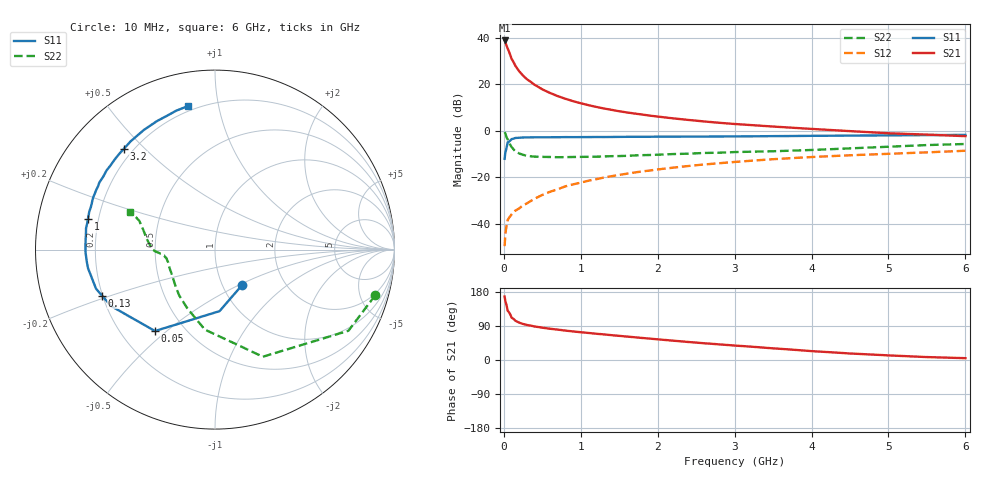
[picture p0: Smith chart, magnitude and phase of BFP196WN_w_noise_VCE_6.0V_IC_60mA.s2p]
! (c) 2017  Infineon Technologies AG, Munich
! Infineon Technologies  Discrete & RF Semiconductors
! BFP196WN
! VCE =  6.0 V,  IC =  60 mA
! Common Emitter S-Parameters:  Jan 2017
# GHz  S  MA  R  50
!  f  S11  S21  S12  S22
! GHz  MAG  ANG  MAG  ANG  MAG  ANG  MAG  ANG
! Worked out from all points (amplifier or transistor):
!   77 points, 10 MHz to 6 GHz, reference 50 ohm
!   highest |S21| = 38.8 dB at 10 MHz (marker M1)
!   |S21| within 3 dB of that: start of sweep to 44.06 MHz
!   unconditionally stable (mu >= 1): 610.1 MHz to 2.66 GHz
!   at 130 MHz: K = 0.58, MSG = 32.1 dB, |S12| = -34.9 dB
!   at 2.2 GHz: K = 1.02, MAG = 9.8 dB, |S12| = -15.9 dB
!   at 6 GHz: K = 0.91, MSG = 3.1 dB, |S12| = -8.6 dB
!   lowest NFmin = 1.38 dB at 450 MHz
!   S11 on the Smith chart (normalised r, x): 10 MHz: 1.23, -0.52; 50 MHz: 0.34, -0.46; 130 MHz: 0.20, -0.19; 1 GHz: 0.16, +0.12; 3.2 GHz: 0.16, +0.43; 6 GHz: 0.17, +0.81
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0.01  0.2488 -52.7  86.95 167.5  0.0033 80.9  0.9285 -15.9
0.02  0.3439 -85.8  79.55 154.9  0.0061 72.8  0.8702 -31.3
0.05  0.5635 -126.4  58.28 130.1  0.012 53.3  0.6538 -65.9
0.1  0.6591 -151.5  35.21 111.9  0.0159 50.1  0.4491 -97.3
0.13  0.6797 -157.8  28.87 107.6  0.0179 50.4  0.3909 -107.3
0.15  0.6978 -161.8  24.78 103.5  0.0192 50.6  0.3604 -115.6
0.2  0.7056 -167.8  18.87 98.6  0.0214 55.2  0.3244 -127.8
0.25  0.7149 -171.6  15.24 95.0  0.025 57.7  0.3034 -135.8
0.3  0.7176 -174.6  12.77 92.5  0.0274 59.3  0.2883 -142.5
0.4  0.7216 -179.0  9.66 88.3  0.0345 64.9  0.2771 -150.5
0.5  0.7222 177.9  7.74 85.3  0.0416 66.1  0.2738 -156.2
0.6  0.723 175.2  6.472 82.5  0.0487 67.3  0.2723 -160.2
0.8  0.7283 170.6  4.852 77.6  0.0637 69.5  0.2703 -164.8
1  0.7283 166.5  3.888 73.3  0.0766 69.7  0.2737 -168.6
1.1  0.7298 164.8  3.538 71.4  0.0843 69.1  0.2744 -169.7
1.5  0.7363 158.1  2.618 63.7  0.1125 67.6  0.2852 -173.5
2.1  0.744 148.4  1.926 52.8  0.1537 63.6  0.3097 -176.3
3.1  0.7555 133.6  1.359 36.8  0.219 55.5  0.3502 179.2
3.2  0.7571 132.2  1.325 35.4  0.2252 54.6  0.353 178.5
4.1  0.7769 119.4  1.069 22.2  0.2765 46.9  0.3913 169.5
5.1  0.7948 108.6  0.869 11.3  0.3233 39.3  0.4599 158.6
6  0.8133 100.7  0.763 4.8  0.3706 33.3  0.518 156.2
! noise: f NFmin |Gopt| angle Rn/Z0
0.45  1.38  0.55  -177  0.05
0.9  1.49  0.57  -169  0.06
1.9  2.42  0.69  -147  0.18
2.4  3.19  0.7  -139  0.3
